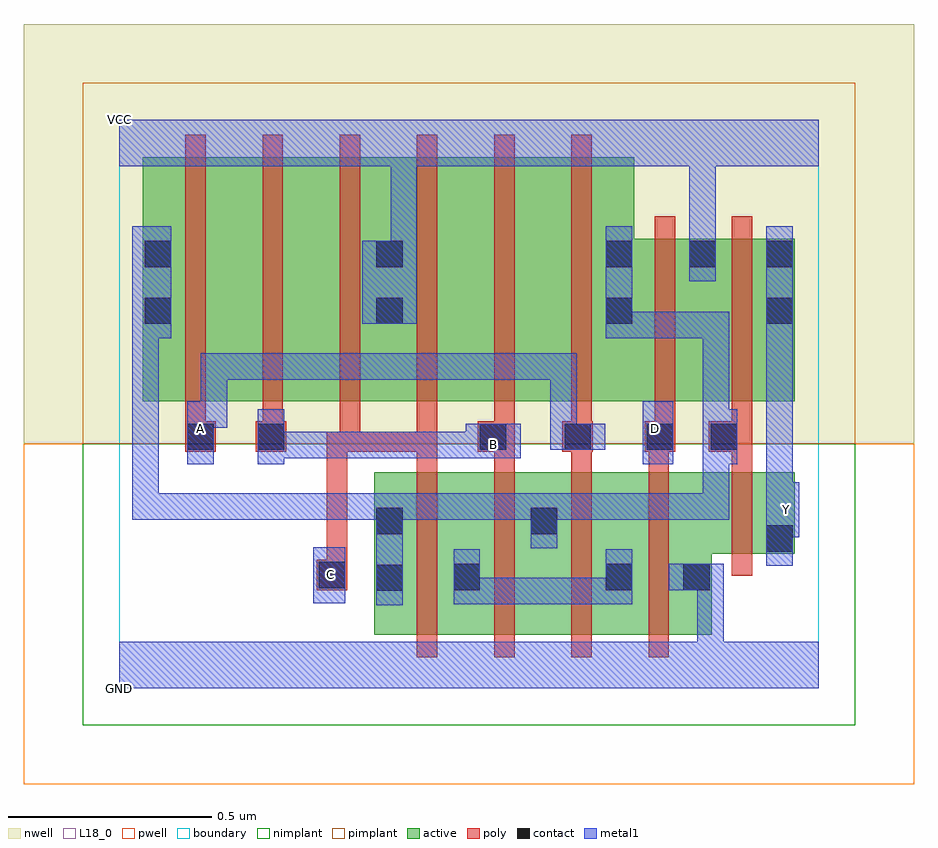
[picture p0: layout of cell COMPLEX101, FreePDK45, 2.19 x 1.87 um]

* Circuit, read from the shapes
.subckt COMPLEX101 A B C D GND VCC Y
M1 n1 C n2 VSUBS nfet w=0.4u l=0.05u
M2 n2 B n1 VSUBS nfet w=0.4u l=0.05u
M3 n1 A n2 VSUBS nfet w=0.4u l=0.05u
M4 GND D n1 VSUBS nfet w=0.4u l=0.05u
M5 Y n2 GND VSUBS nfet w=0.2u l=0.05u
M6 n3 A n2 n4 pfet w=0.6u l=0.05u
M7 n5 B n3 n4 pfet w=0.6u l=0.05u
M8 VCC C n5 n4 pfet w=0.6u l=0.05u
M9 n6 C VCC n4 pfet w=0.6u l=0.05u
M10 n7 B n6 n4 pfet w=0.6u l=0.05u
M11 n2 A n7 n4 pfet w=0.6u l=0.05u
M12 VCC D n2 n4 pfet w=0.4u l=0.05u
M13 Y n2 VCC n4 pfet w=0.4u l=0.05u
.ends

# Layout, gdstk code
import gdstk
lib = gdstk.Library(unit=1e-6, precision=1e-09)
def R(c, l, rs):  # rectangles x0, y0, x1, y1
    for r in rs: c.add(gdstk.rectangle(r[:2], r[2:], *l))
def A(c, l, x, y, w, h, nx, ny, dx, dy):  # array of equal rectangles
    R(c, l, [(x+i*dx, y+j*dy, x+i*dx+w, y+j*dy+h) for i in range(nx) for j in range(ny)])
active = (1, 0)
pwell = (2, 0)
nwell = (3, 0)
nimplant = (4, 0)
pimplant = (5, 0)
poly = (9, 0)
contact = (10, 0)
metal1 = (11, 0)
L18_0 = (18, 0)
boundary = (235, 0)

complex101 = lib.new_cell('COMPLEX101')
R(complex101, active, [(0.627,0.132,0.892,0.532), (0.817,0.132,1.082,0.532), (1.007,0.132,1.267,0.532), (1.192,0.132,1.457,0.532), (1.382,0.132,1.457,0.532), (0.627,0.147,0.702,0.532), (0.817,0.147,0.892,0.492), (1.007,0.147,1.082,0.492), (1.192,0.147,1.267,0.492), (1.382,0.332,1.662,0.532), (1.587,0.332,1.662,0.532), (0.057,0.707,0.282,1.307), (0.057,0.707,0.162,1.2), (0.282,0.707,0.472,1.307), (0.472,0.707,0.702,1.307), (0.627,0.707,0.852,1.307), (0.627,0.707,0.702,1.257), (0.852,0.707,1.042,1.307), (1.042,0.707,1.267,1.307), (1.192,0.707,1.472,1.107), (1.192,0.707,1.267,1.2), (1.397,0.707,1.662,1.107), (1.587,0.707,1.662,1.107), (1.397,0.802,1.472,1.107)])
R(complex101, pwell, [(-0.235,-0.235,1.955,0.602)])
R(complex101, nwell, [(-0.235,0.602,1.955,1.635)])
R(complex101, nimplant, [(-0.09,-0.09,1.81,0.602)])
R(complex101, pimplant, [(-0.09,0.602,1.81,1.49)])
A(complex101, poly, 0.732, 0.077, 0.05, 0.51, 4, 1, 0.19, 0)
A(complex101, poly, 0.732, 0.537, 0.05, 0.095, 4, 1, 0.19, 0)
A(complex101, poly, 0.162, 0.652, 0.05, 0.71, 6, 1, 0.19, 0)
R(complex101, poly, [(0.485,0.242,0.56,0.317), (0.51,0.267,0.56,0.632), (1.507,0.277,1.557,0.587), (1.507,0.537,1.557,0.632), (0.162,0.582,0.237,0.657), (0.335,0.582,0.41,0.657), (0.51,0.582,0.577,0.632), (0.527,0.582,0.577,0.632), (0.527,0.582,0.592,0.632), (0.542,0.582,0.592,0.702), (0.542,0.582,0.782,0.632), (0.542,0.582,0.592,0.632), (0.542,0.582,0.592,0.632), (0.732,0.582,0.782,0.702), (0.732,0.582,0.782,0.632), (0.882,0.582,0.972,0.657), (1.09,0.582,1.165,0.657), (1.292,0.582,1.367,0.657), (1.45,0.582,1.557,0.657), (0.162,0.607,0.212,0.702), (0.352,0.607,0.402,0.702), (0.922,0.607,0.972,0.702), (1.112,0.607,1.162,0.702), (1.317,0.607,1.367,0.702), (1.507,0.607,1.557,0.702), (1.317,0.652,1.367,1.162), (1.507,0.652,1.557,1.162)])
R(complex101, contact, [(0.632,0.24,0.697,0.305), (0.822,0.242,0.887,0.307), (1.197,0.242,1.262,0.307), (1.387,0.242,1.452,0.307), (0.49,0.247,0.555,0.312), (1.592,0.337,1.657,0.402), (0.632,0.38,0.697,0.445), (1.012,0.38,1.077,0.445), (0.167,0.587,0.232,0.652), (0.34,0.587,0.405,0.652), (0.887,0.587,0.952,0.652), (1.095,0.587,1.16,0.652), (1.297,0.587,1.362,0.652), (1.455,0.587,1.52,0.652), (0.062,0.897,0.127,0.962), (0.632,0.897,0.697,0.962), (1.197,0.897,1.262,0.962), (1.592,0.897,1.657,0.962), (0.062,1.037,0.127,1.102), (0.632,1.037,0.697,1.102), (1.197,1.037,1.262,1.102), (1.402,1.037,1.467,1.102), (1.592,1.037,1.657,1.102)])
R(complex101, metal1, [(0,0,1.72,0.115), (1.422,0.05,1.487,0.307), (0.632,0.205,0.697,0.48), (0.822,0.207,0.887,0.272), (0.822,0.207,0.887,0.272), (0.822,0.207,0.887,0.342), (0.822,0.207,1.125,0.272), (1.06,0.207,1.125,0.272), (1.06,0.207,1.125,0.272), (1.06,0.207,1.125,0.272), (1.06,0.207,1.262,0.272), (1.197,0.207,1.262,0.342), (0.477,0.21,0.555,0.347), (1.352,0.242,1.487,0.307), (1.592,0.302,1.657,0.437), (1.012,0.345,1.077,0.48), (1.592,0.372,1.657,0.437), (1.592,0.372,1.672,0.507), (0.032,0.415,0.097,0.48), (0.032,0.415,0.097,0.48), (0.032,0.415,0.097,0.48), (0.032,0.415,0.267,0.48), (0.032,0.415,0.097,0.927), (0.202,0.415,0.267,0.48), (0.202,0.415,0.267,0.48), (0.202,0.415,0.267,0.48), (0.202,0.415,0.405,0.48), (0.34,0.415,0.405,0.48), (0.34,0.415,0.405,0.48), (0.34,0.415,0.405,0.48), (0.34,0.415,0.542,0.48), (0.477,0.415,0.542,0.48), (0.477,0.415,0.697,0.48), (0.632,0.415,0.697,0.48), (0.632,0.415,0.697,0.48), (0.632,0.415,0.835,0.48), (0.77,0.415,0.835,0.48), (0.77,0.415,0.835,0.48), (0.77,0.415,0.835,0.48), (0.77,0.415,1.077,0.48), (1.012,0.415,1.125,0.48), (1.06,0.415,1.125,0.48), (1.06,0.415,1.28,0.48), (1.215,0.415,1.28,0.48), (1.215,0.415,1.28,0.48), (1.215,0.415,1.28,0.48), (1.215,0.415,1.5,0.48), (1.435,0.415,1.5,0.48), (1.435,0.415,1.5,0.617), (1.592,0.442,1.657,0.927), (0.167,0.552,0.232,0.707), (0.34,0.552,0.405,0.687), (1.287,0.552,1.362,0.707), (1.435,0.552,1.5,0.617), (1.435,0.552,1.52,0.617), (1.435,0.552,1.5,0.927), (1.455,0.552,1.52,0.687), (0.34,0.567,0.405,0.632), (0.34,0.567,0.405,0.632), (0.34,0.567,0.542,0.632), (0.477,0.567,0.542,0.632), (0.477,0.567,0.542,0.632), (0.477,0.567,0.542,0.632), (0.477,0.567,0.68,0.632), (0.615,0.567,0.68,0.632), (0.615,0.567,0.917,0.632), (0.852,0.567,0.917,0.632), (0.852,0.567,0.917,0.632), (0.852,0.567,0.987,0.652), (1.06,0.587,1.125,0.652), (1.06,0.587,1.125,0.652), (1.06,0.587,1.195,0.652), (1.06,0.587,1.125,0.825), (0.167,0.642,0.265,0.707), (0.2,0.642,0.265,0.707), (0.2,0.642,0.265,0.825), (0.2,0.76,0.265,0.825), (0.2,0.76,0.405,0.825), (0.34,0.76,0.405,0.825), (0.34,0.76,0.405,0.825), (0.34,0.76,0.405,0.825), (0.34,0.76,0.542,0.825), (0.477,0.76,0.542,0.825), (0.477,0.76,0.542,0.825), (0.477,0.76,0.542,0.825), (0.477,0.76,0.68,0.825), (0.615,0.76,0.68,0.825), (0.615,0.76,0.94,0.825), (0.875,0.76,0.94,0.825), (0.875,0.76,0.94,0.825), (0.875,0.76,0.94,0.825), (0.875,0.76,1.125,0.825), (1.06,0.76,1.125,0.825), (0.032,0.862,0.127,1.137), (1.197,0.862,1.262,1.137), (1.197,0.862,1.262,0.927), (1.197,0.862,1.262,0.927), (1.197,0.862,1.5,0.927), (1.435,0.862,1.5,0.927), (1.592,0.862,1.657,1.137), (0.597,0.897,0.732,1.102), (1.402,1.002,1.467,1.137), (0.667,1.037,0.732,1.35), (1.402,1.072,1.467,1.137), (1.402,1.072,1.467,1.137), (1.402,1.072,1.467,1.35), (0,1.285,1.72,1.4)])
R(complex101, L18_0, [(0,0,1.72,0.115), (1.422,0.05,1.487,0.307), (0.477,0.21,0.555,0.347), (1.352,0.242,1.487,0.307), (0.487,0.247,0.552,0.312), (1.592,0.302,1.657,0.437), (1.592,0.372,1.657,0.437), (1.592,0.372,1.672,0.507), (1.607,0.407,1.672,0.472), (1.592,0.442,1.657,0.927), (0.167,0.552,0.232,0.707), (0.34,0.552,0.405,0.687), (1.287,0.552,1.362,0.707), (0.34,0.567,0.405,0.632), (0.34,0.567,0.405,0.632), (0.34,0.567,0.542,0.632), (0.477,0.567,0.542,0.632), (0.477,0.567,0.542,0.632), (0.477,0.567,0.542,0.632), (0.477,0.567,0.68,0.632), (0.615,0.567,0.68,0.632), (0.615,0.567,0.917,0.632), (0.852,0.567,0.917,0.632), (0.852,0.567,0.917,0.632), (0.852,0.567,0.987,0.652), (0.887,0.567,0.952,0.632), (1.06,0.587,1.125,0.652), (1.06,0.587,1.125,0.652), (1.06,0.587,1.125,0.825), (1.06,0.587,1.195,0.652), (0.167,0.607,0.232,0.672), (1.287,0.607,1.352,0.672), (0.167,0.642,0.265,0.707), (0.2,0.642,0.265,0.707), (0.2,0.642,0.265,0.825), (0.2,0.76,0.265,0.825), (0.2,0.76,0.405,0.825), (0.34,0.76,0.405,0.825), (0.34,0.76,0.405,0.825), (0.34,0.76,0.405,0.825), (0.34,0.76,0.542,0.825), (0.477,0.76,0.542,0.825), (0.477,0.76,0.542,0.825), (0.477,0.76,0.542,0.825), (0.477,0.76,0.68,0.825), (0.615,0.76,0.68,0.825), (0.615,0.76,0.94,0.825), (0.875,0.76,0.94,0.825), (0.875,0.76,0.94,0.825), (0.875,0.76,0.94,0.825), (0.875,0.76,1.125,0.825), (1.06,0.76,1.125,0.825), (1.592,0.862,1.657,1.137), (0.597,0.897,0.732,1.102), (1.402,1.002,1.467,1.137), (0.667,1.037,0.732,1.35), (1.402,1.072,1.467,1.137), (1.402,1.072,1.467,1.137), (1.402,1.072,1.467,1.35), (0,1.285,1.72,1.4)])
R(complex101, boundary, [(0,0,1.72,1.4)])
complex101.add(gdstk.Label('A', (0.2,0.64), layer=11, texttype=0))
complex101.add(gdstk.Label('B', (0.92,0.6), layer=11, texttype=0))
complex101.add(gdstk.Label('C', (0.52,0.28), layer=11, texttype=0))
complex101.add(gdstk.Label('D', (1.32,0.64), layer=11, texttype=0))
complex101.add(gdstk.Label('Y', (1.64,0.44), layer=11, texttype=0))
complex101.add(gdstk.Label('VCC', (0,1.4), layer=11, texttype=0))
complex101.add(gdstk.Label('GND', (0,0), layer=11, texttype=0))

lib.write_gds('COMPLEX101.gds')
